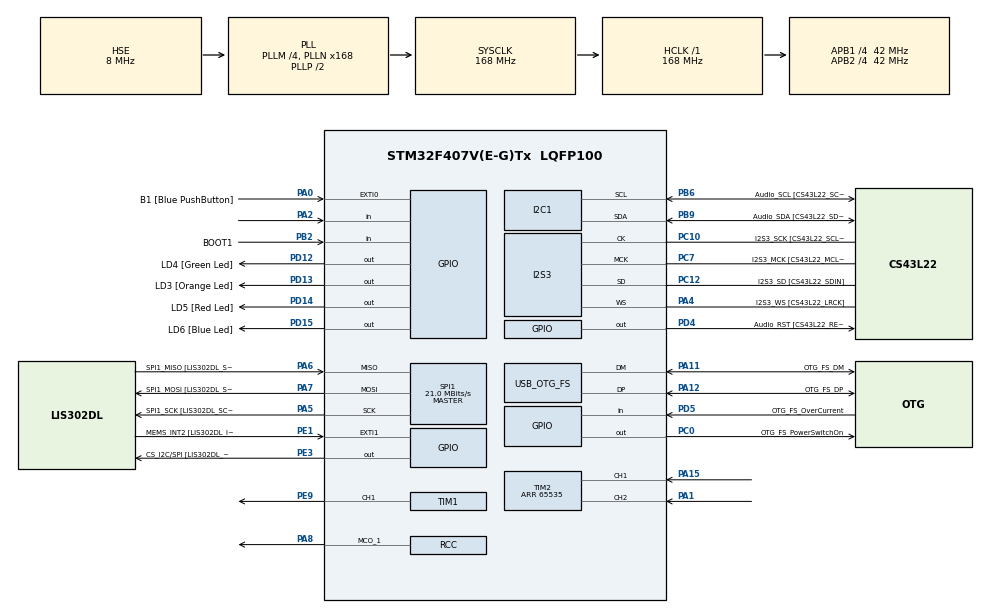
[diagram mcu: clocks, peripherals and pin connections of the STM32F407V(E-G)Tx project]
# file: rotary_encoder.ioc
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PA11.GPIO_Speed=GPIO_SPEED_FREQ_LOW
PD12.GPIO_Label=LD4 [Green Led]
PH0-OSC_IN.Signal=RCC_OSC_IN
PC10.GPIO_PuPd=GPIO_NOPULL
SPI1.VirtualType=VM_MASTER
PB10.GPIO_PuPd=GPIO_NOPULL
PA10.GPIO_PuPd=GPIO_NOPULL
PC12.Signal=I2S3_SD
PA14.GPIO_Label=SWCLK
PB6.GPIO_Label=Audio_SCL [CS43L22_SCL]
PA6.GPIO_Label=SPI1_MISO [LIS302DL_SDO]
PC15-OSC32_OUT.GPIO_Label=PC15-OSC32_OUT
PC3.GPIO_Speed=GPIO_SPEED_FREQ_LOW
RCC.SYSCLKSource=RCC_SYSCLKSOURCE_PLLCLK
PA6.GPIO_Mode=GPIO_MODE_AF_PP
PD14.GPIO_Speed=GPIO_SPEED_FREQ_LOW
PA4.Mode=Half_Duplex_Master
SPI1.Direction=SPI_DIRECTION_2LINES
I2S3.AudioFreq-Half_Duplex_Master=I2S_AUDIOFREQ_96K
PD4.Signal=GPIO_Output
RCC.APB2TimFreq_Value=84000000
PB6.Signal=I2C1_SCL
PC7.Signal=I2S3_MCK
PB6.Mode=I2C
SPI1.CalculateBaudRate=21.0 MBits/s
PC3.Signal=I2S2_SD
PE1.Signal=GPXTI1
PB2.Signal=GPIO_Input
I2S3.ErrorAudioFreq=-2.34 %
TIM1.Channel-PWM\ Generation1\ CH1=TIM_CHANNEL_1
PE9.Signal=S_TIM1_CH1
PA5.GPIO_PuPd=GPIO_NOPULL
I2S3.ErrorAudioFreq-Half_Duplex_Master=0.8 %
NVIC.TIM2_IRQn=true\:0\:0\:false\:false\:true\:true\:true
PD5.GPIO_Mode=GPIO_MODE_INPUT
PD14.GPIO_PuPd=GPIO_NOPULL
PA8.Signal=RCC_MCO_1
PB2.GPIO_PuPd=GPIO_NOPULL
VP_TIM1_VS_ClockSourceINT.Mode=Internal
SPI1.CalculateBaudRate-Full_Duplex_Master=42.0 MBits/s
Mcu.Package=LQFP100
PB9.Signal=I2C1_SDA
PD12.Signal=GPIO_Output
PA10.Signal=USB_OTG_FS_ID
PB9.GPIO_PuPd=GPIO_NOPULL
RCC.APB2CLKDivider=RCC_HCLK_DIV4
RCC.APB1TimFreq_Value=84000000
TIM1.Period=100-1
PC12.GPIO_PuPd=GPIO_NOPULL
PA6.GPIO_Speed=GPIO_SPEED_FREQ_LOW
PA12.GPIO_PuPd=GPIO_NOPULL
PA4.GPIO_Label=I2S3_WS [CS43L22_LRCK]
PD15.Signal=GPIO_Output
PC0.PinState=GPIO_PIN_SET
PA5.Mode=Full_Duplex_Master
I2S3.FullDuplexMode=I2S_FULLDUPLEXMODE_DISABLE
TIM2.IC1Filter=10
PA9.GPIO_Label=VBUS_FS
PB6.GPIO_PuPd=GPIO_NOPULL
PA11.GPIO_Label=OTG_FS_DM
PE1.GPIO_PuPd=GPIO_NOPULL
Dma.TIM1_CH1.0.FIFOMode=DMA_FIFOMODE_DISABLE
NVIC.DMA2_Stream1_IRQn=true\:0\:0\:false\:false\:true\:false\:true
PC0.Signal=GPIO_Output
RCC.APB1CLKDivider=RCC_HCLK_DIV4
PC14-OSC32_IN.Signal=RCC_OSC32_IN
PA0-WKUP.GPIO_ModeDefaultEXTI=GPIO_MODE_EVT_RISING
PA0-WKUP.GPIO_Label=B1 [Blue PushButton]
PA0-WKUP.Signal=GPXTI0
PC10.GPIO_Mode=GPIO_MODE_AF_PP
Dma.TIM1_CH1.0.Mode=DMA_NORMAL
PB10.GPIO_Mode=GPIO_MODE_AF_PP
PA9.Signal=USB_OTG_FS_VBUS
I2S3.VirtualMode=I2S_MODE_MASTER
PC7.GPIO_PuPd=GPIO_NOPULL
PB10.Signal=I2S2_CK
PA5.Signal=SPI1_SCK
PC12.Mode=Half_Duplex_Master
PE1.GPIO_Label=MEMS_INT2 [LIS302DL_INT2]
PA7.GPIO_Speed=GPIO_SPEED_FREQ_LOW
TIM2.IC2Polarity=TIM_ICPOLARITY_FALLING
PB2.GPIO_Mode=GPIO_MODE_INPUT
SPI1.Mode=SPI_MODE_MASTER
PD4.GPIO_Speed=GPIO_SPEED_FREQ_LOW
PE3.GPIO_PuPd=GPIO_NOPULL
PH1-OSC_OUT.GPIO_Label=PH1-OSC_OUT
TIM2.Period=65535
PA13.Mode=Serial_Wire
PC7.GPIO_Label=I2S3_MCK [CS43L22_MCLK]
PA4.Signal=I2S3_WS
PC12.GPIO_Mode=GPIO_MODE_AF_PP
Dma.TIM1_CH1.0.Instance=DMA2_Stream1
PA5.GPIO_Label=SPI1_SCK [LIS302DL_SCL/SPC]
PE3.GPIO_Speed=GPIO_SPEED_FREQ_LOW
PC12.GPIO_Label=I2S3_SD [CS43L22_SDIN]
PA11.Signal=USB_OTG_FS_DM
SH.S_TIM2_CH1_ETR.0=TIM2_CH1,Encoder_Interface
ProjectManager.HeapSize=0x200
NVIC.PriorityGroup=NVIC_PRIORITYGROUP_0
PE3.Signal=GPIO_Output
TIM2.AutoReloadPreload=TIM_AUTORELOAD_PRELOAD_ENABLE
PC3.GPIO_Label=PDM_OUT [MP45DT02_DOUT]
PA0-WKUP.GPIO_PuPd=GPIO_NOPULL
PA8.Mode=Clock-out-1
I2S3.Instance=SPI$Index
PB6.GPIO_Speed=GPIO_SPEED_FREQ_LOW
SPI1.BaudRatePrescaler-Full_Duplex_Master=SPI_BAUDRATEPRESCALER_2
Mcu.Family=STM32F4
PC3.GPIO_Mode=GPIO_MODE_AF_PP
PA6.Mode=Full_Duplex_Master
USB_DEVICE.CLASS_NAME_FS=CDC
RCC.CortexFreq_Value=168000000
PB10.GPIO_Speed=GPIO_SPEED_FREQ_LOW
PB6.GPIO_Mode=GPIO_MODE_AF_OD
PD15.GPIO_Speed=GPIO_SPEED_FREQ_LOW
PC10.Signal=I2S3_CK
PA7.GPIO_Mode=GPIO_MODE_AF_PP
PC0.GPIO_Label=OTG_FS_PowerSwitchOn
Dma.TIM1_CH1.0.MemDataAlignment=DMA_MDATAALIGN_HALFWORD
PA11.Mode=Device_Only
TIM2.EncoderMode=TIM_ENCODERMODE_TI12
USB_DEVICE.VirtualMode-CDC_FS=Cdc
PC10.GPIO_Speed=GPIO_SPEED_FREQ_LOW
PA11.GPIO_PuPd=GPIO_NOPULL
ProjectManager.StackSize=0x400
SPI1.Mode-Full_Duplex_Master=SPI_MODE_MASTER
Dma.TIM1_CH1.0.MemInc=DMA_MINC_ENABLE
PD13.Signal=GPIO_Output
PA12.Signal=USB_OTG_FS_DP
TIM1.Prescaler=84-1
RCC.HCLKFreq_Value=168000000
RCC.AHBFreq_Value=168000000
PH0-OSC_IN.Mode=HSE-External-Oscillator
PH0-OSC_IN.GPIO_Label=PH0-OSC_IN
PA9.GPIO_Mode=GPIO_MODE_INPUT
RCC.HSE_VALUE=8000000
PA4.GPIO_PuPd=GPIO_NOPULL
PA4.GPIO_Speed=GPIO_SPEED_FREQ_LOW
PA6.GPIO_PuPd=GPIO_NOPULL
PA14.Mode=Serial_Wire
PA10.GPIO_Label=OTG_FS_ID
PC7.GPIO_Mode=GPIO_MODE_AF_PP
PH1-OSC_OUT.Mode=HSE-External-Oscillator
PD13.GPIO_Label=LD3 [Orange Led]
PA6.Signal=SPI1_MISO
PD5.GPIO_Label=OTG_FS_OverCurrent
NVIC.OTG_FS_IRQn=true\:0\:0\:false\:false\:true\:true\:true
PD15.GPIO_PuPd=GPIO_NOPULL
TIM2.IC1Polarity=TIM_ICPOLARITY_FALLING
USB_OTG_FS.VirtualMode=Device_Only
PA15.Signal=S_TIM2_CH1_ETR
PA10.GPIO_Speed=GPIO_SPEED_FREQ_LOW
PB9.GPIO_Speed=GPIO_SPEED_FREQ_LOW
PC14-OSC32_IN.GPIO_Label=PC14-OSC32_IN
PC0.GPIO_PuPd=GPIO_NOPULL
Dma.Request0=TIM1_CH1
SPI1.BaudRatePrescaler=SPI_BAUDRATEPRESCALER_2
PA12.GPIO_Speed=GPIO_SPEED_FREQ_LOW
PB3.GPIO_Label=SWO
PD12.GPIO_Speed=GPIO_SPEED_FREQ_LOW
PD15.GPIO_Label=LD6 [Blue Led]
PA7.Mode=Full_Duplex_Master
PB9.GPIO_Label=Audio_SDA [CS43L22_SDA]
PC10.GPIO_Label=I2S3_SCK [CS43L22_SCLK]
USB_DEVICE.VirtualModeFS=Cdc_FS
PC10.Mode=Half_Duplex_Master
PD5.Signal=GPIO_Input
PE1.GPIO_ModeDefaultEXTI=GPIO_MODE_EVT_RISING
PA9.GPIO_PuPd=GPIO_NOPULL
Dma.TIM1_CH1.0.PeriphDataAlignment=DMA_PDATAALIGN_HALFWORD
PA12.GPIO_Label=OTG_FS_DP
Dma.TIM1_CH1.0.Priority=DMA_PRIORITY_LOW
TIM1.ClockDivision=TIM_CLOCKDIVISION_DIV1
PA10.GPIO_Mode=GPIO_MODE_AF_PP
Dma.TIM1_CH1.0.PeriphInc=DMA_PINC_DISABLE
PA13.Signal=SYS_JTMS-SWDIO
SH.S_TIM2_CH2.0=TIM2_CH2,Encoder_Interface
PD4.GPIO_PuPd=GPIO_NOPULL
PC0.GPIO_Speed=GPIO_SPEED_FREQ_LOW
I2S3.RealAudioFreq-Half_Duplex_Master=96.774 KHz
SH.S_TIM1_CH1.0=TIM1_CH1,PWM Generation1 CH1
ProjectManager.TargetToolchain=STM32CubeIDE
PB10.GPIO_Label=CLK_IN [MP45DT02_CLK]
VP_USB_DEVICE_VS_USB_DEVICE_CDC_FS.Mode=CDC_FS
PB9.Mode=I2C
RCC.LSE_VALUE=32768
PC15-OSC32_OUT.Signal=RCC_OSC32_OUT
PA1.Signal=S_TIM2_CH2
PA7.GPIO_PuPd=GPIO_NOPULL
board=STM32F407G-DISC1
PD13.GPIO_Speed=GPIO_SPEED_FREQ_LOW
PC7.GPIO_Speed=GPIO_SPEED_FREQ_LOW
RCC.VCOOutputFreq_Value=336000000
PB9.GPIO_Mode=GPIO_MODE_AF_OD
PA12.GPIO_Mode=GPIO_MODE_AF_PP
PA4.GPIO_Mode=GPIO_MODE_AF_PP
RCC.APB2Freq_Value=42000000
PD4.GPIO_Label=Audio_RST [CS43L22_RESET]
PH1-OSC_OUT.Signal=RCC_OSC_OUT
PD13.GPIO_PuPd=GPIO_NOPULL
PD5.GPIO_PuPd=GPIO_NOPULL
PD14.GPIO_Label=LD5 [Red Led]
Mcu.Name=STM32F407V(E-G)Tx
PA2.Signal=GPIO_Input
PA13.GPIO_Label=SWDIO
PD14.Signal=GPIO_Output
Dma.TIM1_CH1.0.Direction=DMA_MEMORY_TO_PERIPH
RCC.48MHZClocksFreq_Value=48000000
PB3.Signal=SYS_JTDO-SWO
RCC.SYSCLKFreq_VALUE=168000000
PA7.GPIO_Label=SPI1_MOSI [LIS302DL_SDA/SDI/SDO]
PA12.Mode=Device_Only
PA14.Signal=SYS_JTCK-SWCLK
PB2.GPIO_Label=BOOT1
RCC.HSI_VALUE=16000000
PA5.GPIO_Speed=GPIO_SPEED_FREQ_LOW
RCC.PLLQ=7
I2S3.RealAudioFreq=93.75 KHz
RCC.PLLM=4
RCC.PLLN=168
PE3.GPIO_Label=CS_I2C/SPI [LIS302DL_CS_I2C/SPI]
PC7.Mode=Master_Clock_Activated
PA11.GPIO_Mode=GPIO_MODE_AF_PP
RCC.APB1Freq_Value=42000000
PA5.GPIO_Mode=GPIO_MODE_AF_PP
PC12.GPIO_Speed=GPIO_SPEED_FREQ_LOW
PC3.GPIO_PuPd=GPIO_NOPULL
PD12.GPIO_PuPd=GPIO_NOPULL
PA7.Signal=SPI1_MOSI

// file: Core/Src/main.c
/* USER CODE BEGIN Header */
/**
  ******************************************************************************
  * @file           : main.c
  * @brief          : Main program body
  ******************************************************************************
  * @attention
  *
  * <h2><center>&copy; Copyright (c) 2022 STMicroelectronics.
  * All rights reserved.</center></h2>
  *
  * This software component is licensed by ST under Ultimate Liberty license
  * SLA0044, the "License"; You may not use this file except in compliance with
  * the License. You may obtain a copy of the License at:
  *                             www.st.com/SLA0044
  *
  ******************************************************************************
  */
/* USER CODE END Header */
#include "main.h"
#include "usb_device.h"

I2C_HandleTypeDef hi2c1;

I2S_HandleTypeDef hi2s3;

SPI_HandleTypeDef hspi1;

TIM_HandleTypeDef htim1;
TIM_HandleTypeDef htim2;
DMA_HandleTypeDef hdma_tim1_ch1;

void SystemClock_Config(void);
static void MX_GPIO_Init(void);
static void MX_DMA_Init(void);
static void MX_I2C1_Init(void);
static void MX_I2S3_Init(void);
static void MX_SPI1_Init(void);
static void MX_TIM2_Init(void);
static void MX_TIM1_Init(void);

/* USER CODE BEGIN 0 */
uint32_t counter = 0;
int16_t count = 0;
int16_t position = 0;
int speed = 0;

void HAL_TIM_IC_CaptureCallback(TIM_HandleTypeDef *htim)
{
	counter = __HAL_TIM_GET_COUNTER(htim);
	count = (int16_t)counter;
	position = count/4;
}

/* USER CODE END 0 */

int main(void)
{
  /* USER CODE BEGIN 1 */
  uint8_t msg_buffer[64] = {'\0'};

  /* USER CODE END 1 */

  /* MCU Configuration--------------------------------------------------------*/

  /* Reset of all peripherals, Initializes the Flash interface and the Systick. */
  HAL_Init();

  /* Configure the system clock */
  SystemClock_Config();

  /* Initialize all configured peripherals */
  MX_GPIO_Init();
  MX_DMA_Init();
  MX_I2C1_Init();
  MX_I2S3_Init();
  MX_SPI1_Init();
  MX_TIM2_Init();
  MX_USB_DEVICE_Init();
  MX_TIM1_Init();
  /* USER CODE BEGIN 2 */

  HAL_TIM_Encoder_Start_IT(&htim2, TIM_CHANNEL_ALL);
  /* USER CODE END 2 */

  /* Infinite loop */
  while (1)
  {

    /* USER CODE BEGIN 3 */
    if(HAL_GPIO_ReadPin(GPIOA, GPIO_PIN_2))
    {
    	snprintf(msg_buffer, sizeof(msg_buffer), "Encoder Switch Pressed, Encoder position = %d\r\n", position);
    	CDC_Transmit_FS((uint8_t*)msg_buffer, strlen(msg_buffer));
    	uint8_t pwm_value = position * 5;
    	if (pwm_value < 0)
    		pwm_value = 0;
    	if (pwm_value > 100)
    		pwm_value = 100;
    	TIM1->CCR1 = pwm_value;
    	HAL_TIM_PWM_Start(&htim1, TIM_CHANNEL_1);
    	//HAL_TIM_PWM_Start_DMA(&htim1, TIM_CHANNEL_1, (uint32_t *)pwm_data, 1);

    }
    else
    {
    	snprintf(msg_buffer, sizeof(msg_buffer), "Encoder Switch Released, Encoder position = %d\n\r", position);
    	CDC_Transmit_FS((uint8_t*)msg_buffer, strlen(msg_buffer));
    	uint8_t pwm_value = position * 5;
    	if (pwm_value < 0)
    		pwm_value = 0;
    	if (pwm_value > 100)
    		pwm_value = 100;
    	TIM1->CCR1 = pwm_value;
    	HAL_TIM_PWM_Start(&htim1, TIM_CHANNEL_1);
    }
    HAL_Delay(100);
  }
  /* USER CODE END 3 */
}

void SystemClock_Config(void)
{
  RCC_OscInitTypeDef RCC_OscInitStruct = {0};
  RCC_ClkInitTypeDef RCC_ClkInitStruct = {0};
  RCC_PeriphCLKInitTypeDef PeriphClkInitStruct = {0};

  /** Configure the main internal regulator output voltage
  */
  __HAL_RCC_PWR_CLK_ENABLE();
  __HAL_PWR_VOLTAGESCALING_CONFIG(PWR_REGULATOR_VOLTAGE_SCALE1);
  /** Initializes the RCC Oscillators according to the specified parameters
  * in the RCC_OscInitTypeDef structure.
  */
  RCC_OscInitStruct.OscillatorType = RCC_OSCILLATORTYPE_HSI|RCC_OSCILLATORTYPE_HSE;
  RCC_OscInitStruct.HSEState = RCC_HSE_ON;
  RCC_OscInitStruct.HSIState = RCC_HSI_ON;
  RCC_OscInitStruct.HSICalibrationValue = RCC_HSICALIBRATION_DEFAULT;
  RCC_OscInitStruct.PLL.PLLState = RCC_PLL_ON;
  RCC_OscInitStruct.PLL.PLLSource = RCC_PLLSOURCE_HSE;
  RCC_OscInitStruct.PLL.PLLM = 4;
  RCC_OscInitStruct.PLL.PLLN = 168;
  RCC_OscInitStruct.PLL.PLLP = RCC_PLLP_DIV2;
  RCC_OscInitStruct.PLL.PLLQ = 7;
  if (HAL_RCC_OscConfig(&RCC_OscInitStruct) != HAL_OK)
  {
    Error_Handler();
  }
  /** Initializes the CPU, AHB and APB buses clocks
  */
  RCC_ClkInitStruct.ClockType = RCC_CLOCKTYPE_HCLK|RCC_CLOCKTYPE_SYSCLK
                              |RCC_CLOCKTYPE_PCLK1|RCC_CLOCKTYPE_PCLK2;
  RCC_ClkInitStruct.SYSCLKSource = RCC_SYSCLKSOURCE_PLLCLK;
  RCC_ClkInitStruct.AHBCLKDivider = RCC_SYSCLK_DIV1;
  RCC_ClkInitStruct.APB1CLKDivider = RCC_HCLK_DIV4;
  RCC_ClkInitStruct.APB2CLKDivider = RCC_HCLK_DIV4;

  if (HAL_RCC_ClockConfig(&RCC_ClkInitStruct, FLASH_LATENCY_5) != HAL_OK)
  {
    Error_Handler();
  }
  PeriphClkInitStruct.PeriphClockSelection = RCC_PERIPHCLK_I2S;
  PeriphClkInitStruct.PLLI2S.PLLI2SN = 192;
  PeriphClkInitStruct.PLLI2S.PLLI2SR = 2;
  if (HAL_RCCEx_PeriphCLKConfig(&PeriphClkInitStruct) != HAL_OK)
  {
    Error_Handler();
  }
  HAL_RCC_MCOConfig(RCC_MCO1, RCC_MCO1SOURCE_HSI, RCC_MCODIV_1);
}

static void MX_I2C1_Init(void)
{

  hi2c1.Instance = I2C1;
  hi2c1.Init.ClockSpeed = 100000;
  hi2c1.Init.DutyCycle = I2C_DUTYCYCLE_2;
  hi2c1.Init.OwnAddress1 = 0;
  hi2c1.Init.AddressingMode = I2C_ADDRESSINGMODE_7BIT;
  hi2c1.Init.DualAddressMode = I2C_DUALADDRESS_DISABLE;
  hi2c1.Init.OwnAddress2 = 0;
  hi2c1.Init.GeneralCallMode = I2C_GENERALCALL_DISABLE;
  hi2c1.Init.NoStretchMode = I2C_NOSTRETCH_DISABLE;
  if (HAL_I2C_Init(&hi2c1) != HAL_OK)
  {
    Error_Handler();
  }

}

static void MX_I2S3_Init(void)
{

  hi2s3.Instance = SPI3;
  hi2s3.Init.Mode = I2S_MODE_MASTER_TX;
  hi2s3.Init.Standard = I2S_STANDARD_PHILIPS;
  hi2s3.Init.DataFormat = I2S_DATAFORMAT_16B;
  hi2s3.Init.MCLKOutput = I2S_MCLKOUTPUT_ENABLE;
  hi2s3.Init.AudioFreq = I2S_AUDIOFREQ_96K;
  hi2s3.Init.CPOL = I2S_CPOL_LOW;
  hi2s3.Init.ClockSource = I2S_CLOCK_PLL;
  hi2s3.Init.FullDuplexMode = I2S_FULLDUPLEXMODE_DISABLE;
  if (HAL_I2S_Init(&hi2s3) != HAL_OK)
  {
    Error_Handler();
  }

}

static void MX_SPI1_Init(void)
{

  /* SPI1 parameter configuration*/
  hspi1.Instance = SPI1;
  hspi1.Init.Mode = SPI_MODE_MASTER;
  hspi1.Init.Direction = SPI_DIRECTION_2LINES;
  hspi1.Init.DataSize = SPI_DATASIZE_8BIT;
  hspi1.Init.CLKPolarity = SPI_POLARITY_LOW;
  hspi1.Init.CLKPhase = SPI_PHASE_1EDGE;
  hspi1.Init.NSS = SPI_NSS_SOFT;
  hspi1.Init.BaudRatePrescaler = SPI_BAUDRATEPRESCALER_2;
  hspi1.Init.FirstBit = SPI_FIRSTBIT_MSB;
  hspi1.Init.TIMode = SPI_TIMODE_DISABLE;
  hspi1.Init.CRCCalculation = SPI_CRCCALCULATION_DISABLE;
  hspi1.Init.CRCPolynomial = 10;
  if (HAL_SPI_Init(&hspi1) != HAL_OK)
  {
    Error_Handler();
  }

}

static void MX_TIM1_Init(void)
{

  TIM_ClockConfigTypeDef sClockSourceConfig = {0};
  TIM_MasterConfigTypeDef sMasterConfig = {0};
  TIM_OC_InitTypeDef sConfigOC = {0};
  TIM_BreakDeadTimeConfigTypeDef sBreakDeadTimeConfig = {0};

  htim1.Instance = TIM1;
  htim1.Init.Prescaler = 84-1;
  htim1.Init.CounterMode = TIM_COUNTERMODE_UP;
  htim1.Init.Period = 100-1;
  htim1.Init.ClockDivision = TIM_CLOCKDIVISION_DIV1;
  htim1.Init.RepetitionCounter = 0;
  htim1.Init.AutoReloadPreload = TIM_AUTORELOAD_PRELOAD_DISABLE;
  if (HAL_TIM_Base_Init(&htim1) != HAL_OK)
  {
    Error_Handler();
  }
  sClockSourceConfig.ClockSource = TIM_CLOCKSOURCE_INTERNAL;
  if (HAL_TIM_ConfigClockSource(&htim1, &sClockSourceConfig) != HAL_OK)
  {
    Error_Handler();
  }
  if (HAL_TIM_PWM_Init(&htim1) != HAL_OK)
  {
    Error_Handler();
  }
  sMasterConfig.MasterOutputTrigger = TIM_TRGO_RESET;
  sMasterConfig.MasterSlaveMode = TIM_MASTERSLAVEMODE_DISABLE;
  if (HAL_TIMEx_MasterConfigSynchronization(&htim1, &sMasterConfig) != HAL_OK)
  {
    Error_Handler();
  }
  sConfigOC.OCMode = TIM_OCMODE_PWM1;
  sConfigOC.Pulse = 0;
  sConfigOC.OCPolarity = TIM_OCPOLARITY_HIGH;
  sConfigOC.OCNPolarity = TIM_OCNPOLARITY_HIGH;
  sConfigOC.OCFastMode = TIM_OCFAST_DISABLE;
  sConfigOC.OCIdleState = TIM_OCIDLESTATE_RESET;
  sConfigOC.OCNIdleState = TIM_OCNIDLESTATE_RESET;
  if (HAL_TIM_PWM_ConfigChannel(&htim1, &sConfigOC, TIM_CHANNEL_1) != HAL_OK)
  {
    Error_Handler();
  }
  sBreakDeadTimeConfig.OffStateRunMode = TIM_OSSR_DISABLE;
  sBreakDeadTimeConfig.OffStateIDLEMode = TIM_OSSI_DISABLE;
  sBreakDeadTimeConfig.LockLevel = TIM_LOCKLEVEL_OFF;
  sBreakDeadTimeConfig.DeadTime = 0;
  sBreakDeadTimeConfig.BreakState = TIM_BREAK_DISABLE;
  sBreakDeadTimeConfig.BreakPolarity = TIM_BREAKPOLARITY_HIGH;
  sBreakDeadTimeConfig.AutomaticOutput = TIM_AUTOMATICOUTPUT_DISABLE;
  if (HAL_TIMEx_ConfigBreakDeadTime(&htim1, &sBreakDeadTimeConfig) != HAL_OK)
  {
    Error_Handler();
  }
  HAL_TIM_MspPostInit(&htim1);

}

static void MX_TIM2_Init(void)
{

  TIM_Encoder_InitTypeDef sConfig = {0};
  TIM_MasterConfigTypeDef sMasterConfig = {0};

  htim2.Instance = TIM2;
  htim2.Init.Prescaler = 0;
  htim2.Init.CounterMode = TIM_COUNTERMODE_UP;
  htim2.Init.Period = 65535;
  htim2.Init.ClockDivision = TIM_CLOCKDIVISION_DIV1;
  htim2.Init.AutoReloadPreload = TIM_AUTORELOAD_PRELOAD_ENABLE;
  sConfig.EncoderMode = TIM_ENCODERMODE_TI12;
  sConfig.IC1Polarity = TIM_ICPOLARITY_FALLING;
  sConfig.IC1Selection = TIM_ICSELECTION_DIRECTTI;
  sConfig.IC1Prescaler = TIM_ICPSC_DIV1;
  sConfig.IC1Filter = 10;
  sConfig.IC2Polarity = TIM_ICPOLARITY_FALLING;
  sConfig.IC2Selection = TIM_ICSELECTION_DIRECTTI;
  sConfig.IC2Prescaler = TIM_ICPSC_DIV1;
  sConfig.IC2Filter = 0;
  if (HAL_TIM_Encoder_Init(&htim2, &sConfig) != HAL_OK)
  {
    Error_Handler();
  }
  sMasterConfig.MasterOutputTrigger = TIM_TRGO_RESET;
  sMasterConfig.MasterSlaveMode = TIM_MASTERSLAVEMODE_DISABLE;
  if (HAL_TIMEx_MasterConfigSynchronization(&htim2, &sMasterConfig) != HAL_OK)
  {
    Error_Handler();
  }

}

static void MX_DMA_Init(void)
{

  /* DMA controller clock enable */
  __HAL_RCC_DMA2_CLK_ENABLE();

  /* DMA interrupt init */
  /* DMA2_Stream1_IRQn interrupt configuration */
  HAL_NVIC_SetPriority(DMA2_Stream1_IRQn, 0, 0);
  HAL_NVIC_EnableIRQ(DMA2_Stream1_IRQn);

}

static void MX_GPIO_Init(void)
{
  GPIO_InitTypeDef GPIO_InitStruct = {0};

  /* GPIO Ports Clock Enable */
  __HAL_RCC_GPIOE_CLK_ENABLE();
  __HAL_RCC_GPIOC_CLK_ENABLE();
  __HAL_RCC_GPIOH_CLK_ENABLE();
  __HAL_RCC_GPIOA_CLK_ENABLE();
  __HAL_RCC_GPIOB_CLK_ENABLE();
  __HAL_RCC_GPIOD_CLK_ENABLE();

  /*Configure GPIO pin Output Level */
  HAL_GPIO_WritePin(CS_I2C_SPI_GPIO_Port, CS_I2C_SPI_Pin, GPIO_PIN_RESET);

  /*Configure GPIO pin Output Level */
  HAL_GPIO_WritePin(OTG_FS_PowerSwitchOn_GPIO_Port, OTG_FS_PowerSwitchOn_Pin, GPIO_PIN_SET);

  /*Configure GPIO pin Output Level */
  HAL_GPIO_WritePin(GPIOD, LD4_Pin|LD3_Pin|LD5_Pin|LD6_Pin
                          |Audio_RST_Pin, GPIO_PIN_RESET);

  /*Configure GPIO pin : CS_I2C_SPI_Pin */
  GPIO_InitStruct.Pin = CS_I2C_SPI_Pin;
  GPIO_InitStruct.Mode = GPIO_MODE_OUTPUT_PP;
  GPIO_InitStruct.Pull = GPIO_NOPULL;
  GPIO_InitStruct.Speed = GPIO_SPEED_FREQ_LOW;
  HAL_GPIO_Init(CS_I2C_SPI_GPIO_Port, &GPIO_InitStruct);

  /*Configure GPIO pin : OTG_FS_PowerSwitchOn_Pin */
  GPIO_InitStruct.Pin = OTG_FS_PowerSwitchOn_Pin;
  GPIO_InitStruct.Mode = GPIO_MODE_OUTPUT_PP;
  GPIO_InitStruct.Pull = GPIO_NOPULL;
  GPIO_InitStruct.Speed = GPIO_SPEED_FREQ_LOW;
  HAL_GPIO_Init(OTG_FS_PowerSwitchOn_GPIO_Port, &GPIO_InitStruct);

  /*Configure GPIO pin : PDM_OUT_Pin */
  GPIO_InitStruct.Pin = PDM_OUT_Pin;
  GPIO_InitStruct.Mode = GPIO_MODE_AF_PP;
  GPIO_InitStruct.Pull = GPIO_NOPULL;
  GPIO_InitStruct.Speed = GPIO_SPEED_FREQ_LOW;
  GPIO_InitStruct.Alternate = GPIO_AF5_SPI2;
  HAL_GPIO_Init(PDM_OUT_GPIO_Port, &GPIO_InitStruct);

  /*Configure GPIO pin : B1_Pin */
  GPIO_InitStruct.Pin = B1_Pin;
  GPIO_InitStruct.Mode = GPIO_MODE_EVT_RISING;
  GPIO_InitStruct.Pull = GPIO_NOPULL;
  HAL_GPIO_Init(B1_GPIO_Port, &GPIO_InitStruct);

  /*Configure GPIO pin : PA2 */
  GPIO_InitStruct.Pin = GPIO_PIN_2;
  GPIO_InitStruct.Mode = GPIO_MODE_INPUT;
  GPIO_InitStruct.Pull = GPIO_NOPULL;
  HAL_GPIO_Init(GPIOA, &GPIO_InitStruct);

  /*Configure GPIO pin : BOOT1_Pin */
  GPIO_InitStruct.Pin = BOOT1_Pin;
  GPIO_InitStruct.Mode = GPIO_MODE_INPUT;
  GPIO_InitStruct.Pull = GPIO_NOPULL;
  HAL_GPIO_Init(BOOT1_GPIO_Port, &GPIO_InitStruct);

  /*Configure GPIO pin : CLK_IN_Pin */
  GPIO_InitStruct.Pin = CLK_IN_Pin;
  GPIO_InitStruct.Mode = GPIO_MODE_AF_PP;
  GPIO_InitStruct.Pull = GPIO_NOPULL;
  GPIO_InitStruct.Speed = GPIO_SPEED_FREQ_LOW;
  GPIO_InitStruct.Alternate = GPIO_AF5_SPI2;
  HAL_GPIO_Init(CLK_IN_GPIO_Port, &GPIO_InitStruct);

  /*Configure GPIO pins : LD4_Pin LD3_Pin LD5_Pin LD6_Pin
                           Audio_RST_Pin */
  GPIO_InitStruct.Pin = LD4_Pin|LD3_Pin|LD5_Pin|LD6_Pin
                          |Audio_RST_Pin;
  GPIO_InitStruct.Mode = GPIO_MODE_OUTPUT_PP;
  GPIO_InitStruct.Pull = GPIO_NOPULL;
  GPIO_InitStruct.Speed = GPIO_SPEED_FREQ_LOW;
  HAL_GPIO_Init(GPIOD, &GPIO_InitStruct);

  /*Configure GPIO pin : PA8 */
  GPIO_InitStruct.Pin = GPIO_PIN_8;
  GPIO_InitStruct.Mode = GPIO_MODE_AF_PP;
  GPIO_InitStruct.Pull = GPIO_NOPULL;
  GPIO_InitStruct.Speed = GPIO_SPEED_FREQ_LOW;
  GPIO_InitStruct.Alternate = GPIO_AF0_MCO;
  HAL_GPIO_Init(GPIOA, &GPIO_InitStruct);

  /*Configure GPIO pin : OTG_FS_OverCurrent_Pin */
  GPIO_InitStruct.Pin = OTG_FS_OverCurrent_Pin;
  GPIO_InitStruct.Mode = GPIO_MODE_INPUT;
  GPIO_InitStruct.Pull = GPIO_NOPULL;
  HAL_GPIO_Init(OTG_FS_OverCurrent_GPIO_Port, &GPIO_InitStruct);

  /*Configure GPIO pin : MEMS_INT2_Pin */
  GPIO_InitStruct.Pin = MEMS_INT2_Pin;
  GPIO_InitStruct.Mode = GPIO_MODE_EVT_RISING;
  GPIO_InitStruct.Pull = GPIO_NOPULL;
  HAL_GPIO_Init(MEMS_INT2_GPIO_Port, &GPIO_InitStruct);

}

void Error_Handler(void)
{
  __disable_irq();
  while (1)
  {
  }
}

/************************ (C) COPYRIGHT STMicroelectronics *****END OF FILE****/
